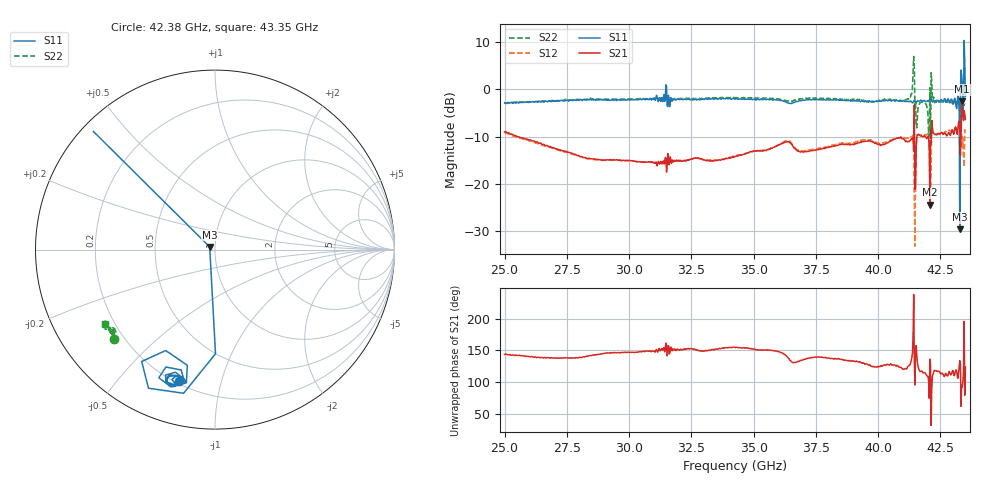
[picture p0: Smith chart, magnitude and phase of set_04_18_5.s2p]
!Keysight Technologies,N5224A,MY55441802,A.10.65.16
!Date: Tuesday, March 03, 2026 17:13:01
!Correction: S11(Full 2 Port(1,2))
!S21(Full 2 Port(1,2))
!S12(Full 2 Port(1,2))
!S22(Full 2 Port(1,2))
!S2P File: Measurements: S11, S21, S12, S22:
# Hz S  dB  R 50
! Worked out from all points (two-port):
!   741 points, 25 GHz to 43.5 GHz, reference 50 ohm
!   highest |S21| = -2.49 dB at 43.38 GHz (marker M1); lowest = -24.4 dB at 42.08 GHz (marker M2)
!   |S21| within 3 dB of the highest: 43.34437 GHz to 43.39923 GHz (54.87 MHz wide, 0.127 % of centre); 43.43839 GHz to 43.48212 GHz (43.73 MHz wide, 0.101 % of centre)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
!   lowest |S11| = -29.6 dB at 43.27 GHz (marker M3), VSWR 1.07, Z = 47.1 + j1.41 ohm
!   |S11| at or under -10 dB: 43.2553 GHz to 43.29184 GHz (36.54 MHz wide, 0.0844 % of centre)
!   |S22| runs from -10.3 to 6.9 dB; largest |S21 - S12| = 0.62
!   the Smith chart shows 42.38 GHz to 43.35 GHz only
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2.5e10  -2.83 37.8  -8.97 143.7  -9.15 144.0  -2.91 9.5
2.81e10  -2.30 2.1  -14.21 139.2  -14.36 140.4  -2.15 -24.2
3.1175e10  -2.58 -29.0  -15.23 149.9  -15.50 151.8  -1.92 -53.8
3.425e10  -2.10 -51.4  -14.19 154.5  -14.05 156.0  -1.83 -78.4
3.735e10  -2.19 -70.7  -12.94 138.9  -12.72 139.5  -1.93 -99.9
4.0425e10  -2.38 -93.8  -11.15 127.4  -10.92 128.8  -2.16 -119.2
4.1225e10  -2.66 -96.6  -11.03 125.5  -10.35 125.0  -1.96 -123.0
4.1325e10  -2.56 -96.4  -10.55 134.8  -10.02 132.7  -0.93 -103.6
4.135e10  -2.70 -96.8  -10.62 138.5  -10.26 136.3  -0.93 -91.7
4.145e10  -2.29 -99.4  -3.30 128.6  -23.85 116.1  4.68 -87.2
4.1525e10  -2.88 -100.5  -12.29 157.6  -11.91 160.3  -7.54 13.3
4.17e10  -2.29 -99.1  -9.83 116.7  -9.67 121.1  -2.78 -130.9
4.195e10  -2.48 -99.3  -10.42 110.3  -9.60 114.1  -3.54 -136.3
4.2075e10  -1.93 -99.8  -24.39 136.2  -20.69 67.2  0.37 -72.0
4.2225e10  -2.51 -102.0  -9.26 115.5  -8.97 113.0  -1.63 -149.9
4.2325e10  -2.73 -103.3  -9.59 118.3  -9.42 116.0  -2.27 -139.2
4.32e10  -1.34 -115.6  -8.37 106.0  -8.54 109.7  -2.83 -143.6
4.3275e10  -29.61 153.2  -7.39 133.9  -7.26 87.1  -2.73 -147.0
4.335e10  2.97 -121.3  -4.09 94.8  -9.83 95.3  -2.63 -146.0
4.3375e10  1.22 -93.3  -2.49 92.5  -12.48 98.5  -3.61 -150.6
4.3425e10  -2.63 -7.7  -6.61 118.6  -14.73 103.3  -3.38 -145.8
4.35e10  -1.55 -89.5  -6.38 123.7  -9.10 100.5  -3.01 -146.3
